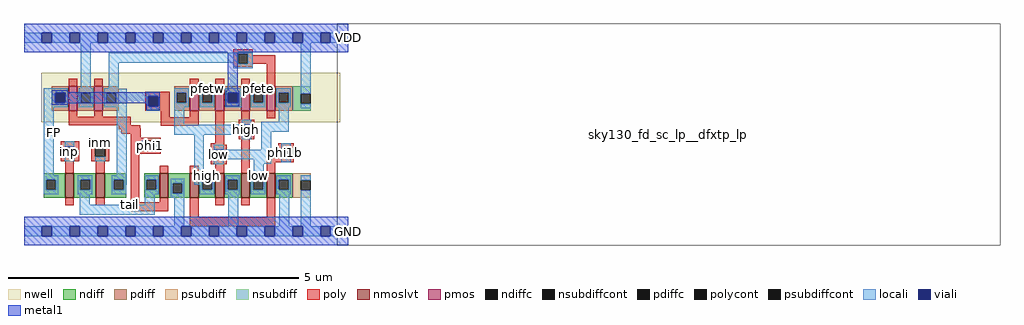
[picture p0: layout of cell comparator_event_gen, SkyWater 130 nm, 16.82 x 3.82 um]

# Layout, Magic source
magic
tech sky130A
magscale 1 2
<< nwell >>
rect -512 -6 518 164
<< pmos >>
rect -418 34 -388 118
rect -330 34 -300 118
rect 0 34 30 118
rect 88 34 118 118
rect 176 34 206 118
rect 264 34 294 118
<< nmoslvt >>
rect -430 -266 -400 -182
rect -324 -266 -294 -182
rect -104 -266 -74 -182
rect 0 -266 30 -182
rect 88 -266 118 -182
rect 176 -266 206 -182
rect 264 -266 294 -182
<< ndiff >>
rect -504 -204 -430 -182
rect -504 -238 -496 -204
rect -462 -238 -430 -204
rect -504 -266 -430 -238
rect -400 -204 -324 -182
rect -400 -238 -378 -204
rect -344 -238 -324 -204
rect -400 -266 -324 -238
rect -294 -204 -220 -182
rect -294 -238 -262 -204
rect -228 -238 -220 -204
rect -294 -266 -220 -238
rect -158 -204 -104 -182
rect -158 -238 -150 -204
rect -116 -238 -104 -204
rect -158 -266 -104 -238
rect -74 -216 0 -182
rect -74 -250 -60 -216
rect -26 -250 0 -216
rect -74 -266 0 -250
rect 30 -204 88 -182
rect 30 -238 42 -204
rect 76 -238 88 -204
rect 30 -266 88 -238
rect 118 -204 176 -182
rect 118 -238 130 -204
rect 164 -238 176 -204
rect 118 -266 176 -238
rect 206 -204 264 -182
rect 206 -238 218 -204
rect 252 -238 264 -204
rect 206 -266 264 -238
rect 294 -204 354 -182
rect 294 -238 306 -204
rect 340 -238 354 -204
rect 294 -266 354 -238
<< pdiff >>
rect -476 96 -418 118
rect -476 62 -464 96
rect -430 62 -418 96
rect -476 34 -418 62
rect -388 96 -330 118
rect -388 62 -376 96
rect -342 62 -330 96
rect -388 34 -330 62
rect -300 96 -246 118
rect -300 62 -288 96
rect -254 62 -246 96
rect -300 34 -246 62
rect -54 96 0 118
rect -54 62 -46 96
rect -12 62 0 96
rect -54 34 0 62
rect 30 96 88 118
rect 30 62 42 96
rect 76 62 88 96
rect 30 34 88 62
rect 118 96 176 118
rect 118 62 130 96
rect 164 62 176 96
rect 118 34 176 62
rect 206 96 264 118
rect 206 62 218 96
rect 252 62 264 96
rect 206 34 264 62
rect 294 96 354 118
rect 294 62 306 96
rect 340 62 354 96
rect 294 34 354 62
<< ndiffc >>
rect -496 -238 -462 -204
rect -378 -238 -344 -204
rect -262 -238 -228 -204
rect -150 -238 -116 -204
rect -60 -250 -26 -216
rect 42 -238 76 -204
rect 130 -238 164 -204
rect 218 -238 252 -204
rect 306 -238 340 -204
<< pdiffc >>
rect -464 62 -430 96
rect -376 62 -342 96
rect -288 62 -254 96
rect -46 62 -12 96
rect 42 62 76 96
rect 130 62 164 96
rect 218 62 252 96
rect 306 62 340 96
<< psubdiff >>
rect 354 -206 416 -182
rect 354 -240 382 -206
rect 354 -266 416 -240
<< nsubdiff >>
rect 354 92 416 118
rect 354 58 382 92
rect 354 34 416 58
<< psubdiffcont >>
rect 382 -240 416 -206
<< nsubdiffcont >>
rect 382 58 416 92
<< poly >>
rect 150 230 216 246
rect 150 196 166 230
rect 200 226 216 230
rect 200 196 294 226
rect 150 186 216 196
rect -418 118 -388 144
rect -330 118 -300 144
rect 0 118 30 144
rect 88 118 118 144
rect 176 118 206 144
rect 264 118 294 196
rect -154 84 -70 100
rect -154 50 -144 84
rect -110 50 -70 84
rect -154 34 -70 50
rect -418 14 -388 34
rect -330 14 -300 34
rect -418 -16 -204 14
rect -100 12 -70 34
rect 0 12 30 34
rect -246 -26 -172 -16
rect -100 -18 30 12
rect -246 -30 -170 -26
rect -236 -46 -170 -30
rect -204 -60 -170 -46
rect -204 -70 -100 -60
rect -446 -90 -382 -72
rect -446 -124 -432 -90
rect -398 -124 -382 -90
rect -446 -140 -382 -124
rect -340 -90 -278 -72
rect -340 -124 -326 -90
rect -292 -124 -278 -90
rect -340 -140 -278 -124
rect -204 -104 -152 -70
rect -118 -104 -100 -70
rect 88 -78 118 34
rect 176 2 206 34
rect 264 8 294 34
rect 168 -14 222 2
rect 168 -48 178 -14
rect 212 -48 222 -14
rect 168 -64 222 -48
rect -204 -114 -100 -104
rect 72 -84 118 -78
rect 72 -100 126 -84
rect -430 -182 -400 -140
rect -324 -182 -294 -140
rect -430 -292 -400 -266
rect -324 -292 -294 -266
rect -204 -282 -174 -114
rect 72 -134 82 -100
rect 116 -134 126 -100
rect 72 -150 126 -134
rect -104 -182 -74 -156
rect 0 -182 30 -156
rect 88 -182 118 -150
rect 176 -182 206 -64
rect 304 -94 358 -78
rect 304 -114 314 -94
rect 264 -128 314 -114
rect 348 -128 358 -94
rect 264 -144 358 -128
rect 264 -182 294 -144
rect -104 -282 -74 -266
rect -204 -312 -74 -282
rect 0 -334 30 -266
rect 88 -292 118 -266
rect 176 -292 206 -266
rect 264 -334 294 -266
rect 0 -364 294 -334
<< polycont >>
rect 166 196 200 230
rect -144 50 -110 84
rect -432 -124 -398 -90
rect -326 -124 -292 -90
rect -152 -104 -118 -70
rect 178 -48 212 -14
rect 82 -134 116 -100
rect 314 -128 348 -94
<< locali >>
rect -572 268 -510 302
rect -476 268 -414 302
rect -380 268 -318 302
rect -284 268 -222 302
rect -188 268 -126 302
rect -92 268 -30 302
rect 4 268 66 302
rect 100 268 162 302
rect 196 268 258 302
rect 292 268 354 302
rect 388 268 450 302
rect 484 268 546 302
rect -376 112 -342 268
rect -280 230 216 234
rect -280 200 166 230
rect -280 112 -246 200
rect 150 196 166 200
rect 200 196 216 230
rect 150 180 216 196
rect -504 96 -422 112
rect -504 62 -464 96
rect -430 62 -422 96
rect -504 46 -422 62
rect -384 96 -334 112
rect -384 62 -376 96
rect -342 62 -334 96
rect -384 46 -334 62
rect -296 110 -246 112
rect -296 96 -218 110
rect -296 62 -288 96
rect -254 62 -218 96
rect -296 46 -218 62
rect -504 -188 -470 46
rect -432 -90 -398 -72
rect -432 -140 -398 -124
rect -326 -90 -292 -72
rect -326 -140 -292 -124
rect -252 -188 -218 46
rect -150 84 -104 100
rect -150 50 -144 84
rect -110 50 -104 84
rect -150 34 -104 50
rect -54 96 -4 112
rect -54 62 -46 96
rect -12 62 -4 96
rect -54 46 -4 62
rect 34 96 84 112
rect 34 62 42 96
rect 76 62 84 96
rect 34 46 84 62
rect 122 96 176 112
rect 122 62 130 96
rect 164 62 176 96
rect 122 46 176 62
rect 210 96 260 112
rect 210 62 218 96
rect 252 62 260 96
rect 210 46 260 62
rect 298 96 348 112
rect 298 62 306 96
rect 340 62 348 96
rect 298 46 348 62
rect 382 92 416 268
rect -54 -14 -20 46
rect 178 -14 212 2
rect 306 -4 340 46
rect 382 42 416 58
rect -54 -48 178 -14
rect -168 -104 -152 -70
rect -118 -104 -102 -70
rect 14 -188 48 -48
rect 178 -64 212 -48
rect 246 -38 340 -4
rect 82 -100 116 -84
rect 246 -100 280 -38
rect 116 -134 280 -100
rect 82 -150 116 -134
rect 220 -148 280 -134
rect 314 -94 348 -78
rect 314 -144 348 -128
rect 220 -188 254 -148
rect -504 -204 -454 -188
rect -504 -238 -496 -204
rect -462 -238 -454 -204
rect -504 -254 -454 -238
rect -386 -204 -336 -188
rect -386 -238 -378 -204
rect -344 -238 -336 -204
rect -386 -254 -336 -238
rect -270 -204 -218 -188
rect -270 -238 -262 -204
rect -228 -222 -218 -204
rect -156 -204 -108 -188
rect -228 -238 -220 -222
rect -270 -254 -220 -238
rect -156 -238 -150 -204
rect -116 -238 -108 -204
rect -156 -254 -108 -238
rect -66 -216 -20 -200
rect -66 -250 -60 -216
rect -26 -250 -20 -216
rect 14 -204 84 -188
rect 14 -222 42 -204
rect -380 -290 -346 -254
rect -156 -290 -122 -254
rect -66 -266 -20 -250
rect 34 -238 42 -222
rect 76 -238 84 -204
rect 34 -254 84 -238
rect 122 -204 172 -188
rect 122 -238 130 -204
rect 164 -238 172 -204
rect 122 -254 172 -238
rect 210 -204 260 -188
rect 210 -238 218 -204
rect 252 -238 260 -204
rect 210 -254 260 -238
rect 298 -204 348 -188
rect 298 -238 306 -204
rect 340 -238 348 -204
rect 298 -254 348 -238
rect 382 -206 416 -188
rect -380 -324 -122 -290
rect -54 -364 -20 -266
rect 132 -364 166 -254
rect 308 -364 342 -254
rect 382 -364 416 -240
rect -572 -398 -510 -364
rect -476 -398 -414 -364
rect -380 -398 -318 -364
rect -284 -398 -222 -364
rect -188 -398 -126 -364
rect -92 -398 -30 -364
rect 4 -398 66 -364
rect 100 -398 162 -364
rect 196 -398 258 -364
rect 292 -398 354 -364
rect 388 -398 450 -364
rect 484 -398 546 -364
<< viali >>
rect -510 268 -476 302
rect -414 268 -380 302
rect -318 268 -284 302
rect -222 268 -188 302
rect -126 268 -92 302
rect -30 268 4 302
rect 66 268 100 302
rect 162 268 196 302
rect 258 268 292 302
rect 354 268 388 302
rect 450 268 484 302
rect -464 62 -430 96
rect -144 50 -110 84
rect 130 62 164 96
rect -510 -398 -476 -364
rect -414 -398 -380 -364
rect -318 -398 -284 -364
rect -222 -398 -188 -364
rect -126 -398 -92 -364
rect -30 -398 4 -364
rect 66 -398 100 -364
rect 162 -398 196 -364
rect 258 -398 292 -364
rect 354 -398 388 -364
rect 450 -398 484 -364
<< metal1 >>
rect -572 302 546 334
rect -572 268 -510 302
rect -476 268 -414 302
rect -380 268 -318 302
rect -284 268 -222 302
rect -188 268 -126 302
rect -92 268 -30 302
rect 4 268 66 302
rect 100 268 162 302
rect 196 268 258 302
rect 292 268 354 302
rect 388 268 450 302
rect 484 268 546 302
rect -572 236 546 268
rect -476 98 -422 104
rect 130 102 164 236
rect -476 96 -104 98
rect -476 62 -464 96
rect -430 84 -104 96
rect -430 62 -144 84
rect -476 60 -144 62
rect -476 54 -422 60
rect -150 50 -144 60
rect -110 50 -104 84
rect 124 96 170 102
rect 124 62 130 96
rect 164 62 170 96
rect 124 50 170 62
rect -150 36 -104 50
rect -572 -364 546 -332
rect -572 -398 -510 -364
rect -476 -398 -414 -364
rect -380 -398 -318 -364
rect -284 -398 -222 -364
rect -188 -398 -126 -364
rect -92 -398 -30 -364
rect 4 -398 66 -364
rect 100 -398 162 -364
rect 196 -398 258 -364
rect 292 -398 354 -364
rect 388 -398 450 -364
rect 484 -398 546 -364
rect -572 -430 546 -398
use sky130_fd_sc_lp__dfxtp_lp  sky130_fd_sc_lp__dfxtp_lp_0 ~/sky130A/libs.ref/sky130_fd_sc_lp/mag
transform 1 0 546 0 1 -381
box -38 -49 2246 715
<< labels >>
flabel polycont 178 -48 212 -14 0 FreeSans 112 0 0 0 high
flabel polycont 82 -134 116 -100 0 FreeSans 112 0 0 0 low
flabel polycont 314 -128 348 -94 0 FreeSans 112 0 0 0 phi1b
flabel polycont -152 -104 -118 -70 0 FreeSans 112 0 0 0 phi1
rlabel locali -102 -88 -102 -88 3 phi1
rlabel locali 236 112 236 112 1 pfete
rlabel locali 60 112 60 112 1 pfetw
rlabel locali 236 -188 236 -188 1 low
rlabel locali 60 -188 60 -188 1 high
rlabel locali 330 -78 330 -78 1 phi1b
rlabel locali -208 -290 -208 -290 1 tail
rlabel locali -310 -74 -310 -74 1 inm
flabel polycont -326 -124 -292 -90 0 FreeSans 112 0 0 0 inm
flabel polycont -432 -124 -398 -90 0 FreeSans 112 0 0 0 inp
rlabel locali -414 -72 -414 -72 1 inp
rlabel locali -470 -40 -470 -40 3 FP
rlabel locali -252 -46 -252 -46 7 FN
rlabel locali 546 288 546 288 3 VDD
rlabel locali 546 -382 546 -382 3 GND
<< end >>
